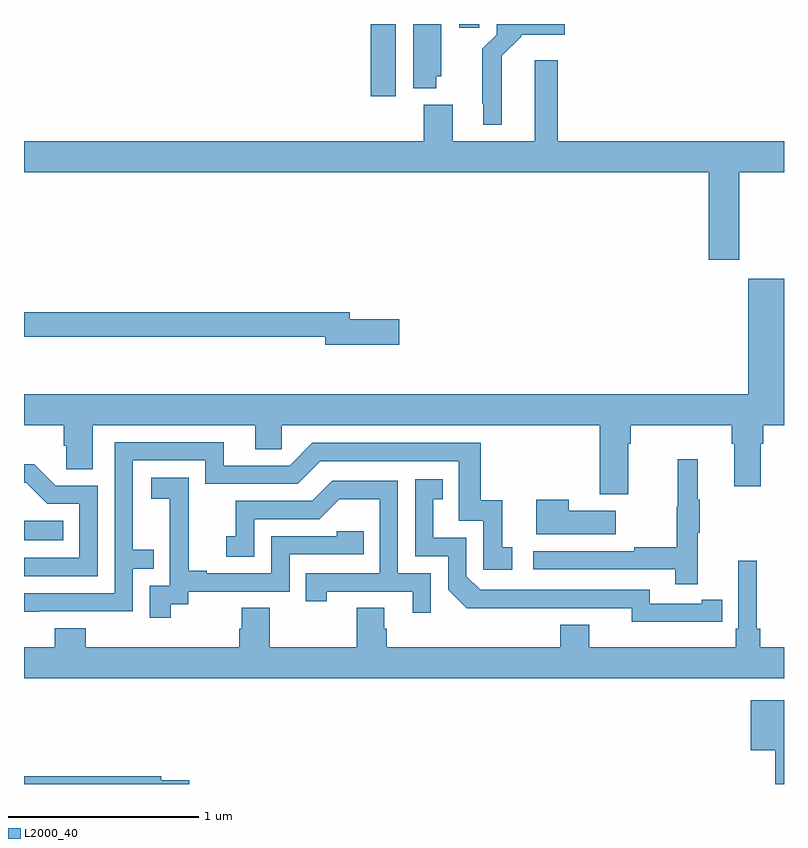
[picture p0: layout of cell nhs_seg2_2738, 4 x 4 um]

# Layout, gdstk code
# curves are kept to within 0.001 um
import gdstk
lib = gdstk.Library(unit=1e-6, precision=1e-09)
def R(c, l, rs):  # rectangles x0, y0, x1, y1
    for r in rs: c.add(gdstk.rectangle(r[:2], r[2:], *l))
def P(c, l, *ps):  # polygons
    for p in ps: c.add(gdstk.Polygon(p, *l))
L2000_40 = (2000, 40)

nhs_seg2_2738 = lib.new_cell('nhs_seg2_2738')
R(nhs_seg2_2738, L2000_40, [(255,595.082,255.206,595.186), (256.826,597.42,256.957,597.8), (257.291,597.78,257.395,597.8)])
P(nhs_seg2_2738, L2000_40, [(257.515,597.632),(257.616,597.734),(257.616,597.743),(257.845,597.743),(257.845,597.8),(257.487,597.8),(257.487,597.744),(257.413,597.67),(257.413,597.379),(257.417,597.379),(257.417,597.269),(257.515,597.269)],
  [(257.17,597.525),(257.197,597.525),(257.197,597.8),(257.048,597.8),(257.048,597.461),(257.17,597.461)],
  [(258.765,597.02),(259,597.02),(259,597.184),(257.81,597.184),(257.81,597.61),(257.687,597.61),(257.687,597.184),(257.257,597.184),(257.257,597.376),(257.105,597.376),(257.105,597.184),(255,597.184),(255,597.02),(258.605,597.02),(258.605,596.559),(258.765,596.559)],
  [(258.181,595.592),(258.194,595.592),(258.194,595.688),(258.725,595.688),(258.725,595.592),(258.737,595.592),(258.737,595.368),(258.877,595.368),(258.877,595.592),(258.89,595.592),(258.89,595.688),(259,595.688),(259,596.458),(258.812,596.458),(258.812,595.852),(255,595.852),(255,595.688),(255.209,595.688),(255.209,595.579),(255.222,595.579),(255.222,595.456),(255.361,595.456),(255.361,595.688),(256.217,595.688),(256.217,595.561),(256.356,595.561),(256.356,595.688),(258.029,595.688),(258.029,595.326),(258.181,595.326)],
  [(256.975,596.246),(256.714,596.246),(256.714,596.282),(255,596.282),(255,596.154),(256.586,596.154),(256.586,596.111),(256.975,596.111)],
  [(255.077,594.708),(255.573,594.708),(255.573,594.933),(255.683,594.933),(255.683,595.034),(255.573,595.034),(255.573,595.503),(255.954,595.503),(255.954,595.38),(256.44,595.38),(256.56,595.5),(257.289,595.5),(257.289,595.185),(257.418,595.185),(257.418,594.927),(257.569,594.927),(257.569,595.047),(257.516,595.047),(257.516,595.294),(257.405,595.294),(257.405,595.596),(256.518,595.596),(256.398,595.476),(256.051,595.476),(256.051,595.599),(255.477,595.599),(255.477,594.804),(255,594.804),(255,594.707)],
  [(258.545,595.123),(258.556,595.123),(258.556,595.297),(258.545,595.297),(258.545,595.51),(258.442,595.51),(258.442,595.26),(258.435,595.26),(258.435,595.046),(258.211,595.046),(258.211,595.026),(257.679,595.026),(257.679,594.93),(258.427,594.93),(258.427,594.852),(258.545,594.852)],
  [(255.387,595.371),(255.168,595.371),(255.055,595.484),(255,595.484),(255,595.386),(255.011,595.386),(255.122,595.275),(255.291,595.275),(255.291,594.99),(255,594.99),(255,594.894),(255.387,594.894)],
  [(255.772,594.745),(255.864,594.745),(255.864,594.813),(256.398,594.813),(256.398,595.008),(256.787,595.008),(256.787,595.131),(256.647,595.131),(256.647,595.104),(256.302,595.104),(256.302,594.909),(255.961,594.909),(255.961,594.922),(255.866,594.922),(255.866,595.205),(255.867,595.205),(255.867,595.411),(255.669,595.411),(255.669,595.301),(255.767,595.301),(255.767,595.073),(255.768,595.073),(255.768,594.843),(255.663,594.843),(255.663,594.675),(255.772,594.675)],
  [(258.566,594.654),(258.674,594.654),(258.674,594.77),(258.566,594.77),(258.566,594.75),(258.294,594.75),(258.294,594.822),(257.4,594.822),(257.328,594.894),(257.328,595.095),(257.155,595.095),(257.155,595.299),(257.204,595.299),(257.204,595.405),(257.058,595.405),(257.058,594.999),(257.232,594.999),(257.232,594.822),(257.33,594.725),(258.198,594.726),(258.198,594.653)],
  [(257.142,594.909),(256.968,594.909),(256.968,595.395),(256.622,595.395),(256.517,595.29),(256.114,595.29),(256.114,595.105),(256.065,595.105),(256.065,594.996),(256.212,594.996),(256.212,595.194),(256.554,595.194),(256.658,595.298),(256.872,595.298),(256.872,594.909),(256.483,594.909),(256.483,594.762),(256.594,594.762),(256.594,594.813),(257.045,594.813),(257.045,594.702),(257.142,594.702)],
  [(258.115,595.237),(257.867,595.237),(257.867,595.297),(257.696,595.297),(257.696,595.115),(258.115,595.115)],
  [(259,594.52),(258.875,594.52),(258.875,594.616),(258.856,594.616),(258.856,594.976),(258.759,594.976),(258.759,594.616),(258.746,594.616),(258.746,594.52),(257.974,594.52),(257.974,594.637),(257.822,594.637),(257.822,594.52),(256.91,594.52),(256.91,594.618),(256.897,594.618),(256.897,594.728),(256.75,594.728),(256.75,594.52),(256.293,594.52),(256.293,594.728),(256.145,594.728),(256.145,594.618),(256.133,594.618),(256.133,594.52),(255.326,594.52),(255.326,594.619),(255.161,594.619),(255.161,594.52),(255,594.52),(255,594.356),(259,594.356)],
  [(259,594.241),(258.824,594.241),(258.824,593.978),(258.954,593.978),(258.954,593.8),(259,593.8)],
  [(255.869,593.82),(255.722,593.82),(255.722,593.84),(255,593.84),(255,593.8),(255.869,593.8)])

lib.write_gds('nhs_seg2_2738.gds')
